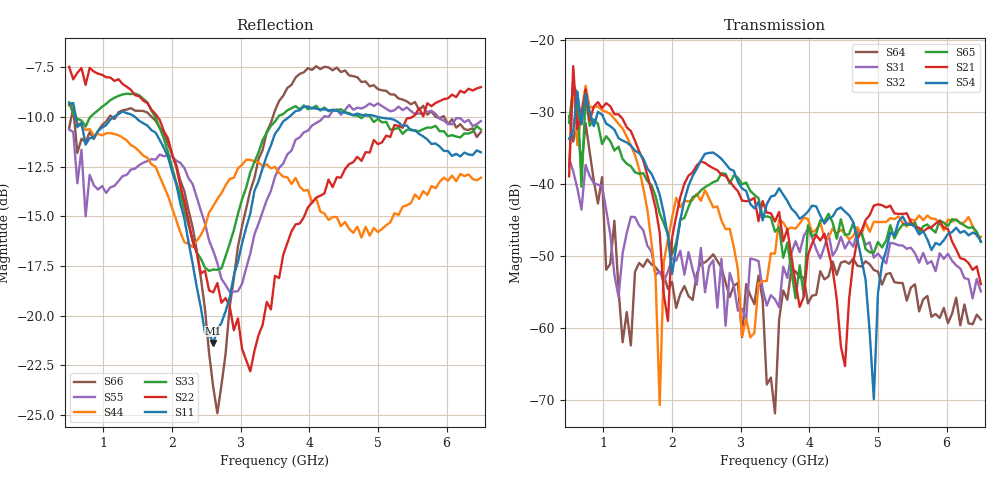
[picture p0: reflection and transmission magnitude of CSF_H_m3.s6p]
!Keysight Technologies,M9804A,MY58100912,A.14.10.03
!Date: Thursday, April 27, 2023 10:28:33
!Correction: S11(C  6-Port  )
!S12(C  6-Port  )
!S13(C  6-Port  )
!S14(C  6-Port  )
!S15(C  6-Port  )
!S16(C  6-Port  )
!S21(C  6-Port  )
!S22(C  6-Port  )
!S23(C  6-Port  )
!S24(C  6-Port  )
!S25(C  6-Port  )
!S26(C  6-Port  )
!S31(C  6-Port  )
!S32(C  6-Port  )
!S33(C  6-Port  )
!S34(C  6-Port  )
!S35(C  6-Port  )
!S36(C  6-Port  )
!S41(C  6-Port  )
!S42(C  6-Port  )
!S43(C  6-Port  )
!S44(C  6-Port  )
!S45(C  6-Port  )
!S46(C  6-Port  )
!S51(C  6-Port  )
!S52(C  6-Port  )
!S53(C  6-Port  )
!S54(C  6-Port  )
!S55(C  6-Port  )
!S56(C  6-Port  )
!S61(C  6-Port  )
!S62(C  6-Port  )
!S63(C  6-Port  )
!S64(C  6-Port  )
!S65(C  6-Port  )
!S66(C  6-Port  )
!S6P File: Measurement: :
# Hz S  RI  R 50
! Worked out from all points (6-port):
!   101 points, 500 MHz to 6.5 GHz, reference 50 ohm
!   strongest paths, dB at 500 MHz, 2 GHz, 3.5 GHz, 5 GHz, 6.5 GHz:
!     S54: -33.7, -52.5, -41.6, -55.2, -48.0
!     S21: -38.9, -47.4, -45.2, -42.8, -53.9
!     S65: -31.5, -49.8, -46.6, -48.1, -48.0
!     S32: -37.6, -44.7, -49.7, -45.3, -47.3
!     S31: -36.5, -50.2, -56.0, -49.7, -54.9
!     S64: -30.6, -53.6, -71.9, -52.2, -58.8
!   lowest |S11| = -21.4 dB at 2.6 GHz (marker M1), VSWR 1.19, Z = 42.4 + j2.25 ohm
!   |S11| at or under -10 dB: 594.3 MHz to 1.155 GHz (560.3 MHz wide, 64.1 % of centre); 1.46 GHz to 3.707 GHz (2.247 GHz wide, 87 % of centre); 4.989 GHz to end of sweep
